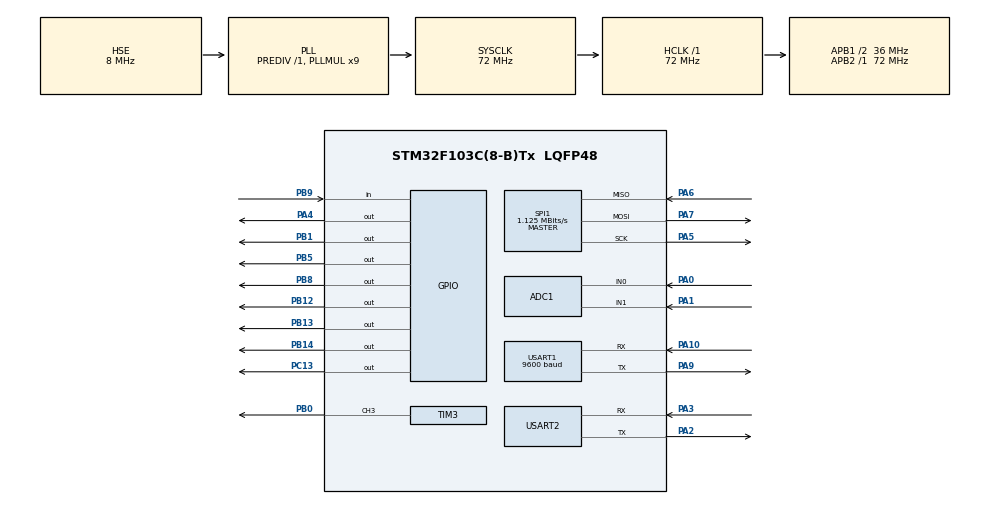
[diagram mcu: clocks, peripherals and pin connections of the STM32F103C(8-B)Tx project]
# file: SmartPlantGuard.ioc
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ADC1.Channel-0\#ChannelRegularConversion=ADC_CHANNEL_0
ADC1.Channel-1\#ChannelRegularConversion=ADC_CHANNEL_1
ADC1.ContinuousConvMode=DISABLE
ADC1.DiscontinuousConvMode=ENABLE
ADC1.NbrOfConversion=2
ADC1.NbrOfConversionFlag=1
ADC1.Rank-0\#ChannelRegularConversion=1
ADC1.Rank-1\#ChannelRegularConversion=2
ADC1.SamplingTime-0\#ChannelRegularConversion=ADC_SAMPLETIME_239CYCLES_5
ADC1.SamplingTime-1\#ChannelRegularConversion=ADC_SAMPLETIME_239CYCLES_5
ADC1.master=1
FREERTOS.Queues01=Queue_BluetoothRx,128,1,1,Dynamic,NULL,NULL
FREERTOS.Tasks01=Task_SensorRead,24,256,StartTask_SensorRead,As weak,NULL,Dynamic,NULL,NULL;Task_Control,24,256,StartTask_Control,As weak,NULL,Dynamic,NULL,NULL;Task_Comm,32,512,StartTask_Comm,As weak,NULL,Dynamic,NULL,NULL
FREERTOS.configGENERATE_RUN_TIME_STATS=1
FREERTOS.configRECORD_STACK_HIGH_ADDRESS=1
FREERTOS.configTOTAL_HEAP_SIZE=8192
Mcu.Family=STM32F1
Mcu.Name=STM32F103C(8-B)Tx
Mcu.Package=LQFP48
NVIC.PriorityGroup=NVIC_PRIORITYGROUP_4
NVIC.TIM4_IRQn=true\:15\:0\:false\:false\:true\:false\:false\:true\:true
NVIC.TimeBase=TIM4_IRQn
NVIC.TimeBaseIP=TIM4
NVIC.USART1_IRQn=true\:5\:0\:false\:false\:true\:true\:true\:true\:true
NVIC.USART2_IRQn=true\:5\:0\:false\:false\:true\:true\:true\:true\:true
PA0-WKUP.Signal=ADCx_IN0
PA1.Signal=ADCx_IN1
PA10.Mode=Asynchronous
PA10.Signal=USART1_RX
PA13.Mode=Serial_Wire
PA13.Signal=SYS_JTMS-SWDIO
PA14.Mode=Serial_Wire
PA14.Signal=SYS_JTCK-SWCLK
PA2.Mode=Asynchronous
PA2.Signal=USART2_TX
PA3.Mode=Asynchronous
PA3.Signal=USART2_RX
PA4.GPIO_Speed=GPIO_SPEED_FREQ_HIGH
PA4.PinState=GPIO_PIN_SET
PA4.Signal=GPIO_Output
PA5.Mode=Full_Duplex_Master
PA5.Signal=SPI1_SCK
PA6.Mode=Full_Duplex_Master
PA6.Signal=SPI1_MISO
PA7.Mode=Full_Duplex_Master
PA7.Signal=SPI1_MOSI
PA9.Mode=Asynchronous
PA9.Signal=USART1_TX
PB0.Signal=S_TIM3_CH3
PB1.Signal=GPIO_Output
PB12.GPIO_ModeDefaultOutputPP=GPIO_MODE_OUTPUT_OD
PB12.GPIO_PuPd=GPIO_PULLUP
PB12.GPIO_Speed=GPIO_SPEED_FREQ_MEDIUM
PB12.PinState=GPIO_PIN_SET
PB12.Signal=GPIO_Output
PB13.Signal=GPIO_Output
PB14.GPIO_ModeDefaultOutputPP=GPIO_MODE_OUTPUT_PP
PB14.GPIO_PuPd=GPIO_NOPULL
PB14.GPIO_Speed=GPIO_SPEED_FREQ_LOW
PB14.Signal=GPIO_Output
PB5.Signal=GPIO_Output
PB8.Signal=GPIO_Output
PB9.Signal=GPIO_Input
PC13-TAMPER-RTC.GPIO_ModeDefaultOutputPP=GPIO_MODE_OUTPUT_PP
PC13-TAMPER-RTC.GPIO_PuPd=GPIO_NOPULL
PC13-TAMPER-RTC.PinState=GPIO_PIN_SET
PC13-TAMPER-RTC.Signal=GPIO_Output
PD0-OSC_IN.Mode=HSE-External-Oscillator
PD0-OSC_IN.Signal=RCC_OSC_IN
PD1-OSC_OUT.Mode=HSE-External-Oscillator
PD1-OSC_OUT.Signal=RCC_OSC_OUT
ProjectManager.HeapSize=0x200
ProjectManager.StackSize=0x400
ProjectManager.TargetToolchain=CMake
RCC.ADCPresc=RCC_ADCPCLK2_DIV6
RCC.AHBFreq_Value=72000000
RCC.APB1CLKDivider=RCC_HCLK_DIV2
RCC.APB1Freq_Value=36000000
RCC.APB1TimFreq_Value=72000000
RCC.APB2Freq_Value=72000000
RCC.APB2TimFreq_Value=72000000
RCC.HCLKFreq_Value=72000000
RCC.PLLMUL=RCC_PLL_MUL9
RCC.PLLSourceVirtual=RCC_PLLSOURCE_HSE
RCC.SYSCLKFreq_VALUE=72000000
RCC.SYSCLKSource=RCC_SYSCLKSOURCE_PLLCLK
RCC.USBFreq_Value=72000000
SH.ADCx_IN0.0=ADC1_IN0,IN0
SH.ADCx_IN1.0=ADC1_IN1,IN1
SH.S_TIM3_CH3.0=TIM3_CH3,PWM Generation3 CH3
SPI1.BaudRatePrescaler=SPI_BAUDRATEPRESCALER_64
SPI1.CalculateBaudRate=1.125 MBits/s
SPI1.Direction=SPI_DIRECTION_2LINES
SPI1.Mode=SPI_MODE_MASTER
SPI1.VirtualType=VM_MASTER
TIM3.Channel-PWM\ Generation3\ CH3=TIM_CHANNEL_3
TIM3.Period=999
TIM3.Prescaler=71
USART1.BaudRate=9600
USART1.VirtualMode=VM_ASYNC
USART2.VirtualMode=VM_ASYNC
VP_FREERTOS_VS_CMSIS_V2.Mode=CMSIS_V2
VP_SYS_VS_tim4.Mode=TIM4
board=custom

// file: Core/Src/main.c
/* USER CODE BEGIN Header */
/**
  ******************************************************************************
  * @file           : main.c
  * @brief          : Main program body
  ******************************************************************************
  * @attention
  *
  * Copyright (c) 2026 STMicroelectronics.
  * All rights reserved.
  *
  * This software is licensed under terms that can be found in the LICENSE file
  * in the root directory of this software component.
  * If no LICENSE file comes with this software, it is provided AS-IS.
  *
  ******************************************************************************
  */
/* USER CODE END Header */
#include "main.h"
#include "cmsis_os.h"
#include "adc.h"
#include "spi.h"
#include "tim.h"
#include "usart.h"
#include "gpio.h"

/* USER CODE BEGIN Includes */
#include "system_status.h"
#include "controller_core.h"
#include "sensor_manager.h"
#include "storage_flash.h"
/* USER CODE END Includes */

void SystemClock_Config(void);
void MX_FREERTOS_Init(void);

int main(void)
{

  /* MCU Configuration--------------------------------------------------------*/

  /* Reset of all peripherals, Initializes the Flash interface and the Systick. */
  HAL_Init();

  /* Configure the system clock */
  SystemClock_Config();

  /* Initialize all configured peripherals */
  MX_GPIO_Init();
  MX_ADC1_Init();
  MX_TIM3_Init();
  MX_USART1_UART_Init();
  MX_USART2_UART_Init();
  MX_SPI1_Init();
  /* USER CODE BEGIN 2 */
  // HAL_UART_Receive_IT(&huart1, &bluetoothRxByte, 1);
  /* USER CODE END 2 */

  /* Init scheduler */
  osKernelInitialize();  /* Call init function for freertos objects (in cmsis_os2.c) */
  MX_FREERTOS_Init();

  /* USER CODE BEGIN RTOS_OBJECTS */
  // 在 MX_FREERTOS_Init() 之后创建互斥量（确保所有 RTOS 对象已初始化）
  gSensorDataMutex = osMutexNew(NULL);
  if (gSensorDataMutex == NULL) {
    Error_Handler();
  }

  gSystemStatusMutex = osMutexNew(NULL);
  if (gSystemStatusMutex == NULL) {
    Error_Handler();
  }

  controlParamsMutex = osMutexNew(NULL);
  if (controlParamsMutex == NULL) {
    Error_Handler();
  }

  lastDecisionMutex = osMutexNew(NULL);
  if (lastDecisionMutex == NULL) {
    Error_Handler();
  }

  flashBusyMutex = osMutexNew(NULL);
  if (flashBusyMutex == NULL) {
    Error_Handler();
  }

  delayInit();
  /* USER CODE END RTOS_OBJECTS */

  /* Start scheduler */
  osKernelStart();

  /* We should never get here as control is now taken by the scheduler */

  /* Infinite loop */
  while (1)
  {

  }
}

void SystemClock_Config(void)
{
  RCC_OscInitTypeDef RCC_OscInitStruct = {0};
  RCC_ClkInitTypeDef RCC_ClkInitStruct = {0};
  RCC_PeriphCLKInitTypeDef PeriphClkInit = {0};

  /** Initializes the RCC Oscillators according to the specified parameters
  * in the RCC_OscInitTypeDef structure.
  */
  RCC_OscInitStruct.OscillatorType = RCC_OSCILLATORTYPE_HSE;
  RCC_OscInitStruct.HSEState = RCC_HSE_ON;
  RCC_OscInitStruct.HSEPredivValue = RCC_HSE_PREDIV_DIV1;
  RCC_OscInitStruct.HSIState = RCC_HSI_ON;
  RCC_OscInitStruct.PLL.PLLState = RCC_PLL_ON;
  RCC_OscInitStruct.PLL.PLLSource = RCC_PLLSOURCE_HSE;
  RCC_OscInitStruct.PLL.PLLMUL = RCC_PLL_MUL9;
  if (HAL_RCC_OscConfig(&RCC_OscInitStruct) != HAL_OK)
  {
    Error_Handler();
  }

  /** Initializes the CPU, AHB and APB buses clocks
  */
  RCC_ClkInitStruct.ClockType = RCC_CLOCKTYPE_HCLK|RCC_CLOCKTYPE_SYSCLK
                              |RCC_CLOCKTYPE_PCLK1|RCC_CLOCKTYPE_PCLK2;
  RCC_ClkInitStruct.SYSCLKSource = RCC_SYSCLKSOURCE_PLLCLK;
  RCC_ClkInitStruct.AHBCLKDivider = RCC_SYSCLK_DIV1;
  RCC_ClkInitStruct.APB1CLKDivider = RCC_HCLK_DIV2;
  RCC_ClkInitStruct.APB2CLKDivider = RCC_HCLK_DIV1;

  if (HAL_RCC_ClockConfig(&RCC_ClkInitStruct, FLASH_LATENCY_2) != HAL_OK)
  {
    Error_Handler();
  }
  PeriphClkInit.PeriphClockSelection = RCC_PERIPHCLK_ADC;
  PeriphClkInit.AdcClockSelection = RCC_ADCPCLK2_DIV6;
  if (HAL_RCCEx_PeriphCLKConfig(&PeriphClkInit) != HAL_OK)
  {
    Error_Handler();
  }
}

void HAL_TIM_PeriodElapsedCallback(TIM_HandleTypeDef *htim)
{
  if (htim->Instance == TIM4)
  {
    HAL_IncTick();
  }
}

void Error_Handler(void)
{
  __disable_irq();
  while (1)
  {
  }
}

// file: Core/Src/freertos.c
/* USER CODE BEGIN Header */
/**
  ******************************************************************************
  * File Name          : freertos.c
  * Description        : Code for freertos applications
  ******************************************************************************
  * @attention
  *
  * Copyright (c) 2026 STMicroelectronics.
  * All rights reserved.
  *
  * This software is licensed under terms that can be found in the LICENSE file
  * in the root directory of this software component.
  * If no LICENSE file comes with this software, it is provided AS-IS.
  *
  ******************************************************************************
  */
/* USER CODE END Header */

#include "FreeRTOS.h"
#include "task.h"
#include "main.h"
#include "cmsis_os.h"

/* USER CODE BEGIN Includes */
#include "sensor_types.h"
/* USER CODE END Includes */

/* Definitions for Task_SensorRead */
osThreadId_t Task_SensorReadHandle;
const osThreadAttr_t Task_SensorRead_attributes = {
  .name = "Task_SensorRead",
  .stack_size = 256 * 4,
  .priority = (osPriority_t) osPriorityNormal,
};
/* Definitions for Task_Control */
osThreadId_t Task_ControlHandle;
const osThreadAttr_t Task_Control_attributes = {
  .name = "Task_Control",
  .stack_size = 256 * 4,
  .priority = (osPriority_t) osPriorityNormal,
};
/* Definitions for Task_Comm */
osThreadId_t Task_CommHandle;
const osThreadAttr_t Task_Comm_attributes = {
  .name = "Task_Comm",
  .stack_size = 512 * 4,
  .priority = (osPriority_t) osPriorityAboveNormal,
};
/* Definitions for Queue_BluetoothRx */
osMessageQueueId_t Queue_BluetoothRxHandle;
const osMessageQueueAttr_t Queue_BluetoothRx_attributes = {
  .name = "Queue_BluetoothRx"
};

void StartTask_SensorRead(void *argument);
void StartTask_Control(void *argument);
void StartTask_Comm(void *argument);

void MX_FREERTOS_Init(void); /* (MISRA C 2004 rule 8.1) */

/* Hook prototypes */
void configureTimerForRunTimeStats(void);
unsigned long getRunTimeCounterValue(void);

/* USER CODE BEGIN 1 */
/* Functions needed when configGENERATE_RUN_TIME_STATS is on */
__weak void configureTimerForRunTimeStats(void)
{

}

__weak unsigned long getRunTimeCounterValue(void)
{
return 0;
}
/* USER CODE END 1 */

void MX_FREERTOS_Init(void) {

  /* Create the queue(s) */
  /* creation of Queue_BluetoothRx */
  Queue_BluetoothRxHandle = osMessageQueueNew (128, 1, &Queue_BluetoothRx_attributes);

  /* Create the thread(s) */
  /* creation of Task_SensorRead */
  Task_SensorReadHandle = osThreadNew(StartTask_SensorRead, NULL, &Task_SensorRead_attributes);

  /* creation of Task_Control */
  Task_ControlHandle = osThreadNew(StartTask_Control, NULL, &Task_Control_attributes);

  /* creation of Task_Comm */
  Task_CommHandle = osThreadNew(StartTask_Comm, NULL, &Task_Comm_attributes);

}

__weak void StartTask_SensorRead(void *argument)
{
  for(;;)
  {
    osDelay(1);
  }
}

__weak void StartTask_Control(void *argument)
{
  for(;;)
  {
    osDelay(1);
  }
}

__weak void StartTask_Comm(void *argument)
{
  for(;;)
  {
    osDelay(1);
  }
}
